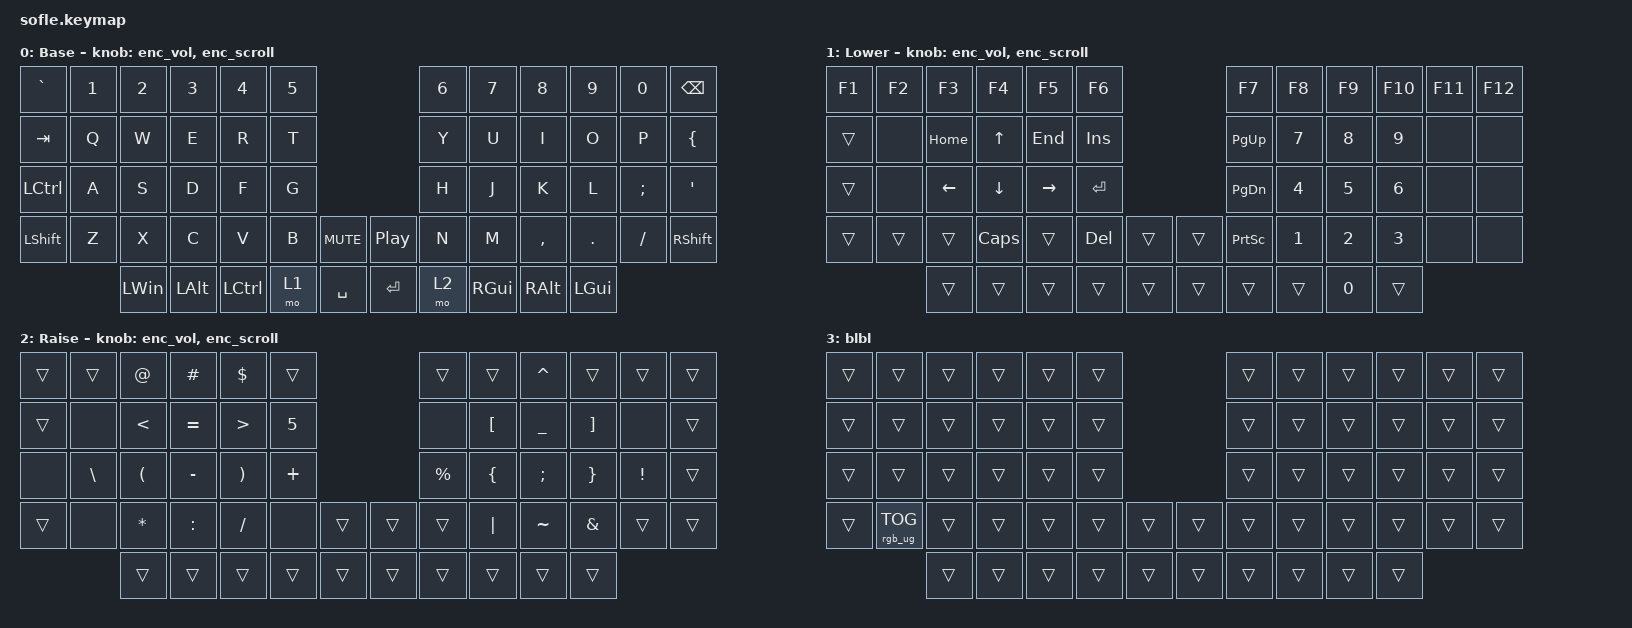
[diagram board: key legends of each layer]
/*
 * Copyright (c) 2020 The ZMK Contributors
 *
 * SPDX-License-Identifier: MIT
 */

#include <behaviors.dtsi>
#include <dt-bindings/zmk/keys.h>
#include <dt-bindings/zmk/rgb.h>

/ {
    // Кастомные behaviors для энкодеров

    behaviors {
        enc_vol: encoder_volume {
            compatible = "zmk,behavior-sensor-rotate";
            label = "ENCODER_VOLUME";
            #sensor-binding-cells = <0>;
            bindings = <&kp C_VOL_UP>, <&kp C_VOL_DN>;
        };

        enc_scroll: encoder_scroll {
            compatible = "zmk,behavior-sensor-rotate";
            label = "ENCODER_SCROLL";
            #sensor-binding-cells = <0>;
            bindings = <&kp PG_UP>, <&kp PG_DN>;
        };
    };

    // Комбо для переключения языка (E+R = Alt+Shift)

    combos {
        compatible = "zmk,combos";

        combo_lang_switch {
            timeout-ms = <50>;
            key-positions = <15 16>;  // E и R на QWERTY раскладке
            bindings = <&kp LA(LSHFT)>;
        };
    };

    keymap {
        compatible = "zmk,keymap";

        // Слой 0: Основной (QWERTY/ЙЦУКЕН)

        default_layer {
            bindings = <
&kp GRAVE  &kp N1  &kp N2        &kp N3        &kp N4            &kp N5                        &kp N6  &kp N7    &kp N8     &kp N9    &kp N0    &kp BSPC
&kp TAB    &kp Q   &kp W         &kp E         &kp R             &kp T                         &kp Y   &kp U     &kp I      &kp O     &kp P     &kp LEFT_BRACE
&kp LCTRL  &kp A   &kp S         &kp D         &kp F             &kp G                         &kp H   &kp J     &kp K      &kp L     &kp SEMI  &kp SQT
&kp LSHFT  &kp Z   &kp X         &kp C         &kp V             &kp B   &kp C_MUTE  &kp C_PP  &kp N   &kp M     &kp COMMA  &kp DOT   &kp FSLH  &kp RSHFT
                   &kp LEFT_WIN  &kp LEFT_ALT  &kp LEFT_CONTROL  &mo 1   &kp SPACE   &kp RET   &mo 2   &kp RGUI  &kp RALT   &kp LGUI
            >;

            display-name = "Base";

            // Левый энкодер: громкость, Правый энкодер: прокрутка

            sensor-bindings = <&enc_vol &enc_scroll>;
        };

        // Слой 1: Lower (Символы и F-клавиши)

        lower_layer {
            bindings = <
&kp F1  &kp F2  &kp F3          &kp F4        &kp F5     &kp F6                      &kp F7           &kp F8        &kp F9        &kp F10       &kp F11  &kp F12
&trans  &none   &kp HOME        &kp UP_ARROW  &kp END    &kp INSERT                  &kp PAGE_UP      &kp NUMBER_7  &kp NUMBER_8  &kp NUMBER_9  &none    &none
&trans  &none   &kp LEFT_ARROW  &kp DOWN      &kp RIGHT  &kp RET                     &kp PAGE_DOWN    &kp NUMBER_4  &kp NUMBER_5  &kp NUMBER_6  &none    &none
&trans  &trans  &trans          &kp CAPS      &trans     &kp DEL     &trans  &trans  &kp PRINTSCREEN  &kp NUMBER_1  &kp NUMBER_2  &kp NUMBER_3  &none    &none
                &trans          &trans        &trans     &trans      &trans  &trans  &trans           &trans        &kp NUMBER_0  &trans
            >;

            display-name = "Lower";
            sensor-bindings = <&enc_vol &enc_scroll>;
        };

        // Слой 2: Raise (Навигация, Bluetooth, RGB)

        raise_layer {
            bindings = <
&trans  &trans         &kp AT_SIGN           &kp POUND  &kp DOLLAR             &trans                    &trans       &trans            &kp CARET       &trans         &trans           &trans
&trans  &none          &kp LESS_THAN         &kp EQUAL  &kp GREATER_THAN       &kp N5                    &none        &kp LEFT_BRACKET  &kp UNDERSCORE  &kp RBKT       &none            &trans
&none   &kp BACKSLASH  &kp LEFT_PARENTHESIS  &kp MINUS  &kp RIGHT_PARENTHESIS  &kp PLUS                  &kp PERCENT  &kp LEFT_BRACE    &kp SEMICOLON   &kp RBRC       &kp EXCLAMATION  &trans
&trans  &none          &kp ASTERISK          &kp COLON  &kp SLASH              &none     &trans  &trans  &trans       &kp PIPE          &kp TILDE       &kp AMPERSAND  &trans           &trans
                       &trans                &trans     &trans                 &trans    &trans  &trans  &trans       &trans            &trans          &trans
            >;

            display-name = "Raise";
            sensor-bindings = <&enc_vol &enc_scroll>;
        };

        blbl {
            bindings = <
&trans  &trans           &trans  &trans  &trans  &trans                  &trans  &trans  &trans  &trans  &trans  &trans
&trans  &trans           &trans  &trans  &trans  &trans                  &trans  &trans  &trans  &trans  &trans  &trans
&trans  &trans           &trans  &trans  &trans  &trans                  &trans  &trans  &trans  &trans  &trans  &trans
&trans  &rgb_ug RGB_TOG  &trans  &trans  &trans  &trans  &trans  &trans  &trans  &trans  &trans  &trans  &trans  &trans
                         &trans  &trans  &trans  &trans  &trans  &trans  &trans  &trans  &trans  &trans
            >;
        };
    };
};
